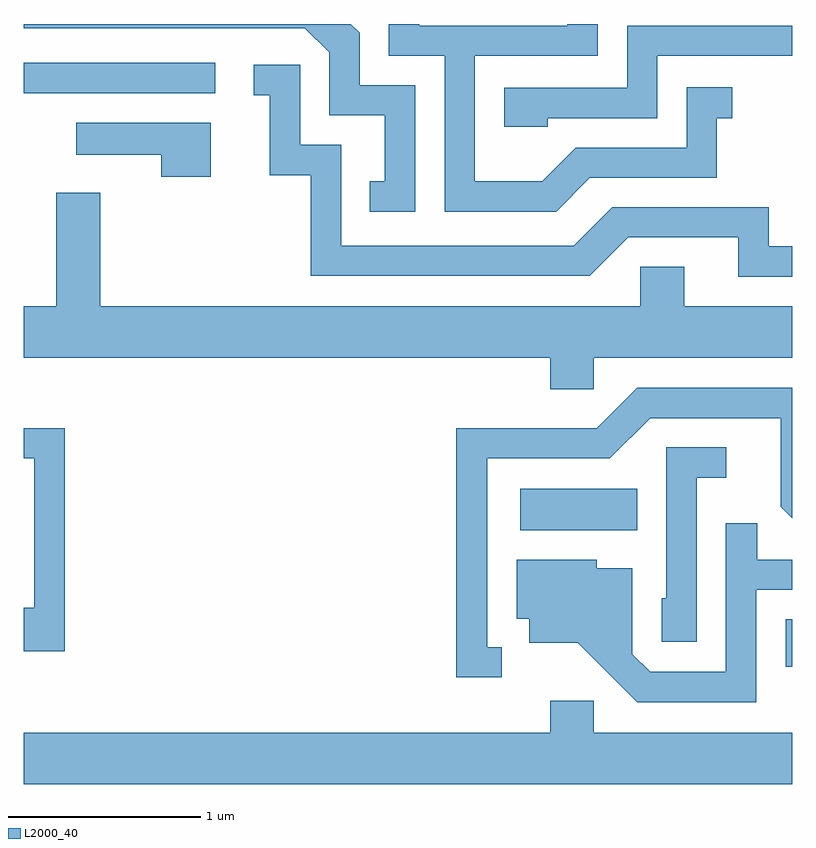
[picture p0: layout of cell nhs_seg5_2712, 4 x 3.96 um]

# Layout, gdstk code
import gdstk
lib = gdstk.Library(unit=1e-6, precision=1e-09)
def R(c, l, rs):  # rectangles x0, y0, x1, y1
    for r in rs: c.add(gdstk.rectangle(r[:2], r[2:], *l))
def P(c, l, *ps):  # polygons
    for p in ps: c.add(gdstk.Polygon(p, *l))
L2000_40 = (2000, 40)

nhs_seg5_2712 = lib.new_cell('nhs_seg5_2712')
R(nhs_seg5_2712, L2000_40, [(269.576,1470.726,269.611,1470.974), (268.196,1471.436,268.804,1471.654), (265.611,1473.711,266.608,1473.869)])
P(nhs_seg5_2712, L2000_40, [(268.557,1473.271),(269.219,1473.271),(269.219,1473.581),(269.298,1473.581),(269.298,1473.744),(269.061,1473.744),(269.061,1473.429),(268.484,1473.429),(268.309,1473.254),(267.959,1473.254),(267.959,1473.906),(268.599,1473.906),(268.599,1474.072),(268.441,1474.072),(268.441,1474.064),(267.669,1474.064),(267.669,1474.072),(267.511,1474.072),(267.511,1473.906),(267.801,1473.906),(267.801,1473.096),(268.382,1473.096)],
  [(267.649,1473.754),(267.359,1473.754),(267.359,1474.027),(267.314,1474.072),(265.611,1474.072),(265.611,1474.051),(267.074,1474.051),(267.201,1473.924),(267.201,1473.596),(267.491,1473.596),(267.491,1473.254),(267.413,1473.254),(267.413,1473.096),(267.649,1473.096)],
  [(268.339,1473.581),(268.909,1473.581),(268.909,1473.906),(269.611,1473.906),(269.611,1474.064),(268.751,1474.064),(268.751,1473.739),(268.111,1473.739),(268.111,1473.536),(268.339,1473.536)],
  [(269.611,1472.914),(269.489,1472.914),(269.489,1473.119),(268.674,1473.119),(268.474,1472.919),(267.264,1472.919),(267.264,1473.444),(267.049,1473.444),(267.049,1473.859),(266.808,1473.859),(266.808,1473.701),(266.891,1473.701),(266.891,1473.286),(267.106,1473.286),(267.106,1472.761),(268.557,1472.761),(268.757,1472.961),(269.331,1472.961),(269.331,1472.756),(269.611,1472.756)],
  [(266.584,1473.559),(265.883,1473.559),(265.883,1473.391),(266.326,1473.391),(266.326,1473.276),(266.584,1473.276)],
  [(268.579,1472.336),(269.611,1472.336),(269.611,1472.604),(269.049,1472.604),(269.049,1472.809),(268.821,1472.809),(268.821,1472.604),(266.009,1472.604),(266.009,1473.194),(265.781,1473.194),(265.781,1472.604),(265.611,1472.604),(265.611,1472.336),(268.351,1472.336),(268.351,1472.171),(268.579,1472.171)],
  [(268.098,1470.829),(268.024,1470.829),(268.024,1471.811),(268.662,1471.811),(268.872,1472.021),(269.551,1472.021),(269.551,1471.559),(269.611,1471.499),(269.611,1472.179),(268.804,1472.179),(268.594,1471.969),(267.861,1471.969),(267.861,1470.671),(268.098,1470.671)],
  [(265.824,1471.969),(265.611,1471.969),(265.611,1471.811),(265.666,1471.811),(265.666,1471.034),(265.611,1471.034),(265.611,1470.806),(265.824,1470.806)],
  [(269.114,1471.711),(269.268,1471.711),(269.268,1471.869),(268.956,1471.869),(268.956,1471.084),(268.931,1471.084),(268.931,1470.856),(269.114,1470.856)],
  [(269.424,1471.126),(269.611,1471.126),(269.611,1471.284),(269.429,1471.284),(269.429,1471.473),(269.266,1471.473),(269.266,1470.699),(268.872,1470.699),(268.779,1470.792),(268.779,1471.239),(268.594,1471.239),(268.594,1471.284),(268.176,1471.284),(268.176,1470.976),(268.241,1470.976),(268.241,1470.851),(268.494,1470.851),(268.804,1470.541),(269.424,1470.541)],
  [(269.611,1470.384),(268.579,1470.384),(268.579,1470.549),(268.351,1470.549),(268.351,1470.384),(265.611,1470.384),(265.611,1470.116),(269.611,1470.116)])

lib.write_gds('nhs_seg5_2712.gds')
